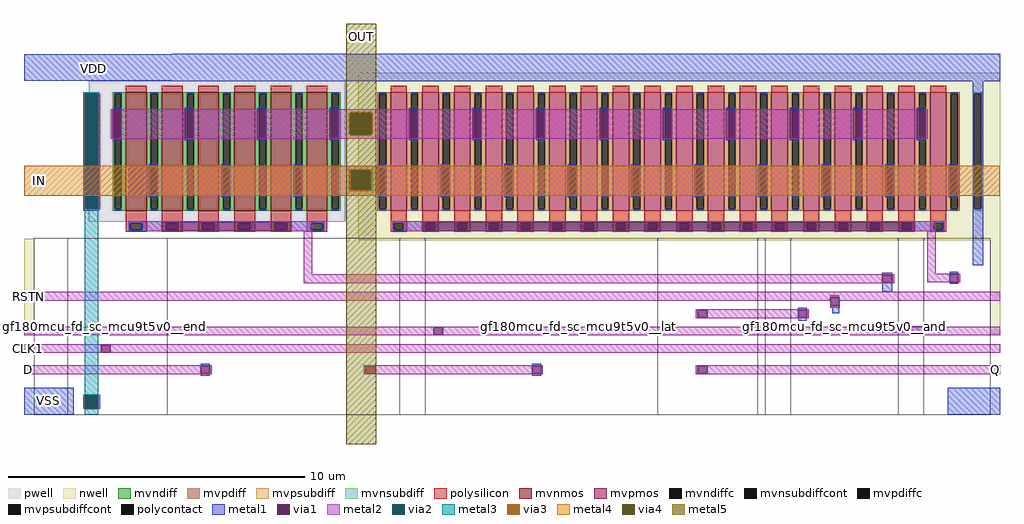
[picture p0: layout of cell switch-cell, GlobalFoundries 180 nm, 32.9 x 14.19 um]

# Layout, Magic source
magic
tech gf180mcuD
magscale 1 10
<< nwell >>
rect 5954 1243 6020 2294
rect -560 533 -490 1174
rect 1694 1166 6020 1243
rect 5954 533 6020 1166
<< metal1 >>
rect 438 2420 6020 2423
rect -560 2240 6020 2420
rect 438 2237 6020 2240
rect -160 2151 -68 2164
rect 5835 2158 5907 2237
rect -160 1377 -148 2151
rect -160 1364 -68 1377
rect 5835 998 5907 1378
rect 5226 933 5295 945
rect 5226 817 5295 878
rect 5680 938 5739 952
rect 5680 871 5739 883
rect 4877 781 4936 793
rect 4877 710 4936 722
rect 4659 697 4718 709
rect 4890 672 4936 710
rect 4659 622 4718 642
rect 5226 540 5634 586
rect 633 320 693 332
rect 2867 320 2926 332
rect 633 253 693 265
rect 2867 253 2926 265
rect -560 -10 -224 170
rect 5669 -10 6020 170
<< via1 >>
rect -148 1377 -58 2151
rect 5226 878 5295 933
rect 5680 883 5739 938
rect 4877 722 4936 781
rect 3981 642 4046 697
rect 4659 642 4718 697
rect 2202 525 2263 580
rect -38 407 23 462
rect 633 265 693 320
rect 1741 265 1806 320
rect 2867 265 2926 320
rect 3981 265 4046 320
rect -150 30 -58 122
<< metal2 >>
rect -160 2151 -45 2153
rect -160 1377 -150 2151
rect -58 1377 -45 2151
rect 1640 2020 1780 2030
rect 1640 1870 1780 1880
rect 1640 1640 1780 1650
rect 1640 1490 1780 1500
rect -160 1375 -45 1377
rect 1326 935 1385 1292
rect 5528 940 5587 1292
rect 5528 938 5751 940
rect 1326 933 5307 935
rect 1326 878 5226 933
rect 5295 878 5307 933
rect 5528 883 5680 938
rect 5739 883 5751 938
rect 5528 881 5751 883
rect 1326 876 5307 878
rect -560 781 6020 817
rect -560 758 4877 781
rect 4875 722 4877 758
rect 4936 758 6020 781
rect 4936 722 4938 758
rect 4875 710 4938 722
rect 3969 697 4730 699
rect 3969 642 3981 697
rect 4046 642 4659 697
rect 4718 642 4730 697
rect 3969 640 4730 642
rect -560 580 6020 582
rect -560 525 2202 580
rect 2263 525 6020 580
rect -560 523 6020 525
rect -560 462 6020 464
rect -560 407 -38 462
rect 23 407 6020 462
rect -560 405 6020 407
rect -560 320 705 322
rect -560 265 633 320
rect 693 265 705 320
rect -560 263 705 265
rect 1729 320 2938 322
rect 1729 265 1741 320
rect 1806 265 2867 320
rect 2926 265 2938 320
rect 1729 263 2938 265
rect 3969 320 6020 322
rect 3969 265 3981 320
rect 4046 265 6020 320
rect 3969 263 6020 265
rect -162 122 -46 124
rect -162 30 -150 122
rect -58 30 -46 122
rect -162 28 -46 30
<< via2 >>
rect -150 1377 -148 2151
rect -148 1377 -58 2151
rect 1640 1880 1780 2020
rect 1640 1500 1780 1640
rect -150 30 -58 122
<< metal3 >>
rect -150 2151 -58 2161
rect 1630 1880 1640 2020
rect 1780 1880 1790 2020
rect 1630 1500 1640 1640
rect 1780 1500 1790 1640
rect -150 122 -58 1377
rect -150 -10 -58 30
<< via3 >>
rect 1640 1880 1780 2020
rect 1640 1500 1780 1640
<< metal4 >>
rect 1640 2020 1780 2030
rect 1630 1880 1640 2020
rect 1780 1880 1790 2020
rect 1640 1870 1780 1880
rect -560 1640 6019 1668
rect -560 1500 1640 1640
rect 1780 1500 6019 1640
rect -560 1466 6019 1500
<< via4 >>
rect 1640 1880 1780 2020
<< metal5 >>
rect 1614 2020 1816 2626
rect 1614 1880 1640 2020
rect 1780 1880 1816 2020
rect 1614 -212 1816 1880
use gf180mcu_fd_sc_mcu9t5v0__and2_1  gf180mcu_fd_sc_mcu9t5v0__and2_1_0 pdks/gf180mcuD/libs.ref/gf180mcu_fd_sc_mcu9t5v0/mag
transform 1 0 4524 0 1 80
box -86 -90 982 1098
use gf180mcu_fd_sc_mcu9t5v0__endcap  gf180mcu_fd_sc_mcu9t5v0__endcap_0 pdks/gf180mcuD/libs.ref/gf180mcu_fd_sc_mcu9t5v0/mag
transform -1 0 -180 0 1 80
box -586 -90 310 1098
use gf180mcu_fd_sc_mcu9t5v0__endcap  gf180mcu_fd_sc_mcu9t5v0__endcap_1
transform 1 0 4300 0 1 80
box -586 -90 310 1098
use gf180mcu_fd_sc_mcu9t5v0__inv_1  gf180mcu_fd_sc_mcu9t5v0__inv_1_0 pdks/gf180mcuD/libs.ref/gf180mcu_fd_sc_mcu9t5v0/mag
transform 1 0 5420 0 1 80
box -86 -90 534 1098
use gf180mcu_fd_sc_mcu9t5v0__latq_1  gf180mcu_fd_sc_mcu9t5v0__latq_1_0 pdks/gf180mcuD/libs.ref/gf180mcu_fd_sc_mcu9t5v0/mag
transform 1 0 -180 0 1 80
box -86 -90 2326 1098
use gf180mcu_fd_sc_mcu9t5v0__latq_1  gf180mcu_fd_sc_mcu9t5v0__latq_1_1
transform 1 0 2060 0 1 80
box -86 -90 2326 1098
use trans-gate  trans-gate_0 /foss/designs/sscs-chipathon2025-LNA/designs/libs/core_switch-matrix/trans-gate
transform -1 0 4514 0 -1 4234
box -1440 1940 4639 3012
<< labels >>
flabel metal1 -137 2280 -45 2372 0 FreeSans 320 0 0 0 VDD
port 16 nsew
flabel metal1 -438 39 -346 131 0 FreeSans 320 0 0 0 VSS
port 17 nsew
flabel metal2 -560 758 -501 817 0 FreeSans 320 0 0 0 RSTN
port 18 nsew
flabel metal2 -560 405 -501 464 0 FreeSans 320 0 0 0 CLK1
port 19 nsew
flabel metal2 -560 523 -501 582 0 FreeSans 320 0 0 0 CLK2
port 20 nsew
flabel metal2 -560 263 -501 322 0 FreeSans 320 0 0 0 D
port 21 nsew
flabel metal2 5961 263 6020 322 0 FreeSans 320 0 0 0 Q
port 23 nsew
flabel metal4 -525 1495 -385 1635 0 FreeSans 320 0 0 0 IN
port 24 nsew
flabel metal5 1645 2467 1785 2607 0 FreeSans 320 0 0 0 OUT
port 26 nsew
<< end >>

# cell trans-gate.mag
magic
tech gf180mcuD
magscale 1 10
<< nwell >>
rect -1440 1940 -1319 3000
rect -931 2942 -821 3000
rect -717 2942 -607 3000
rect -503 2942 -393 3000
rect -289 2942 -179 3000
rect -75 2942 35 3000
rect 139 2942 249 3000
rect 353 2942 463 3000
rect 567 2942 677 3000
rect 781 2942 891 3000
rect 995 2942 1105 3000
rect 1209 2942 1319 3000
rect 1423 2942 1533 3000
rect 1637 2942 1747 3000
rect 1760 1940 2820 3000
<< pwell >>
rect 3272 2942 3412 2946
rect 3516 2942 3656 2946
rect 3760 2942 3900 2946
rect 4004 2942 4144 2946
rect 4248 2942 4388 2946
rect 4508 1994 4639 2946
<< mvpsubdiff >>
rect 4567 2857 4639 2870
rect 4567 2083 4580 2857
rect 4626 2083 4639 2857
rect 4567 2070 4639 2083
<< mvnsubdiff >>
rect -1393 2857 -1321 2870
rect -1393 2083 -1380 2857
rect -1334 2083 -1321 2857
rect -1393 2070 -1321 2083
<< mvpsubdiffcont >>
rect 4580 2083 4626 2857
<< mvnsubdiffcont >>
rect -1380 2083 -1334 2857
<< polysilicon >>
rect -1145 2999 -1035 3012
rect -1145 2953 -1120 2999
rect -1060 2953 -1035 2999
rect -1145 2914 -1035 2953
rect -931 2999 -821 3012
rect -931 2953 -906 2999
rect -846 2953 -821 2999
rect -931 2914 -821 2953
rect -717 2999 -607 3012
rect -717 2953 -692 2999
rect -632 2953 -607 2999
rect -717 2914 -607 2953
rect -503 2999 -393 3012
rect -503 2953 -478 2999
rect -418 2953 -393 2999
rect -503 2914 -393 2953
rect -289 2999 -179 3012
rect -289 2953 -264 2999
rect -204 2953 -179 2999
rect -289 2914 -179 2953
rect -75 2999 35 3012
rect -75 2953 -50 2999
rect 10 2953 35 2999
rect -75 2914 35 2953
rect 139 2999 249 3012
rect 139 2953 164 2999
rect 224 2953 249 2999
rect 139 2914 249 2953
rect 353 2999 463 3012
rect 353 2953 378 2999
rect 438 2953 463 2999
rect 353 2914 463 2953
rect 567 2999 677 3012
rect 567 2953 592 2999
rect 652 2953 677 2999
rect 567 2914 677 2953
rect 781 2999 891 3012
rect 781 2953 806 2999
rect 866 2953 891 2999
rect 781 2914 891 2953
rect 995 2999 1105 3012
rect 995 2953 1020 2999
rect 1080 2953 1105 2999
rect 995 2914 1105 2953
rect 1209 2999 1319 3012
rect 1209 2953 1234 2999
rect 1294 2953 1319 2999
rect 1209 2914 1319 2953
rect 1423 2999 1533 3012
rect 1423 2953 1448 2999
rect 1508 2953 1533 2999
rect 1423 2914 1533 2953
rect 1637 2999 1747 3012
rect 1637 2953 1662 2999
rect 1722 2953 1747 2999
rect 1637 2914 1747 2953
rect 1851 2999 1961 3012
rect 1851 2953 1876 2999
rect 1936 2953 1961 2999
rect 1851 2914 1961 2953
rect 2065 2999 2175 3012
rect 2065 2953 2090 2999
rect 2150 2953 2175 2999
rect 2065 2914 2175 2953
rect 2279 2999 2389 3012
rect 2279 2953 2304 2999
rect 2364 2953 2389 2999
rect 2279 2914 2389 2953
rect 2493 2999 2603 3012
rect 2493 2953 2518 2999
rect 2578 2953 2603 2999
rect 2493 2914 2603 2953
rect 3028 2999 3168 3012
rect 3028 2953 3060 2999
rect 3140 2953 3168 2999
rect 3028 2914 3168 2953
rect 3272 2999 3412 3012
rect 3272 2953 3304 2999
rect 3384 2953 3412 2999
rect 3272 2870 3412 2953
rect 3516 2999 3656 3012
rect 3516 2953 3548 2999
rect 3628 2953 3656 2999
rect 3516 2870 3656 2953
rect 3760 2999 3900 3012
rect 3760 2953 3792 2999
rect 3872 2953 3900 2999
rect 3760 2870 3900 2953
rect 4004 2999 4144 3012
rect 4004 2953 4036 2999
rect 4116 2953 4144 2999
rect 4004 2870 4144 2953
rect 4248 2999 4388 3012
rect 4248 2953 4276 2999
rect 4356 2953 4388 2999
rect 4248 2914 4388 2953
<< polycontact >>
rect -1120 2953 -1060 2999
rect -906 2953 -846 2999
rect -692 2953 -632 2999
rect -478 2953 -418 2999
rect -264 2953 -204 2999
rect -50 2953 10 2999
rect 164 2953 224 2999
rect 378 2953 438 2999
rect 592 2953 652 2999
rect 806 2953 866 2999
rect 1020 2953 1080 2999
rect 1234 2953 1294 2999
rect 1448 2953 1508 2999
rect 1662 2953 1722 2999
rect 1876 2953 1936 2999
rect 2090 2953 2150 2999
rect 2304 2953 2364 2999
rect 2518 2953 2578 2999
rect 3060 2953 3140 2999
rect 3304 2953 3384 2999
rect 3548 2953 3628 2999
rect 3792 2953 3872 2999
rect 4036 2953 4116 2999
rect 4276 2953 4356 2999
<< metal1 >>
rect -1131 3008 2589 3010
rect -1131 2999 -931 3008
rect 2389 2999 2589 3008
rect -1131 2953 -1120 2999
rect -1060 2953 -931 2999
rect 2389 2953 2518 2999
rect 2578 2953 2589 2999
rect -1131 2944 -931 2953
rect 2389 2944 2589 2953
rect -1131 2942 2589 2944
rect 3049 3008 4367 3010
rect 3049 2999 3272 3008
rect 4144 2999 4367 3008
rect 3049 2953 3060 2999
rect 3140 2953 3272 2999
rect 4144 2953 4276 2999
rect 4356 2953 4367 2999
rect 3049 2944 3272 2953
rect 4144 2944 4367 2953
rect 3049 2942 4367 2944
rect -1393 2857 -1321 2870
rect -1393 2083 -1380 2857
rect -1334 2083 -1321 2857
rect 4567 2857 4639 2870
rect -1220 2766 -1160 2778
rect -1006 2766 -960 2778
rect -792 2766 -732 2778
rect -578 2766 -532 2778
rect -364 2766 -304 2778
rect -150 2766 -104 2778
rect 64 2766 124 2778
rect 278 2766 324 2778
rect 492 2766 552 2778
rect 706 2766 752 2778
rect 920 2766 980 2778
rect 1134 2766 1180 2778
rect 1348 2766 1408 2778
rect 1562 2766 1608 2778
rect 1776 2766 1836 2778
rect 1990 2766 2036 2778
rect 2204 2766 2264 2778
rect -1220 2556 -1160 2568
rect -792 2556 -732 2568
rect -364 2556 -304 2568
rect 64 2556 124 2568
rect 492 2556 552 2568
rect 920 2556 980 2568
rect 1348 2556 1408 2568
rect 1776 2554 1836 2568
rect 2204 2556 2264 2568
rect 2632 2766 2692 2778
rect 2632 2556 2692 2568
rect 3197 2766 3257 2778
rect 3197 2556 3257 2568
rect 3685 2766 3745 2778
rect 3685 2556 3745 2568
rect 4173 2766 4233 2778
rect 4173 2556 4233 2568
rect -1006 2383 -946 2395
rect -1006 2175 -946 2187
rect -578 2383 -518 2395
rect -578 2175 -518 2187
rect -150 2383 -90 2395
rect -150 2175 -90 2187
rect 278 2383 338 2395
rect 278 2175 338 2187
rect 706 2383 766 2395
rect 706 2175 766 2187
rect 1134 2383 1194 2395
rect 1134 2175 1194 2187
rect 1562 2383 1622 2395
rect 1562 2175 1622 2187
rect 1990 2383 2050 2395
rect 1990 2175 2050 2187
rect 2418 2383 2478 2395
rect 2418 2175 2478 2187
rect 2953 2383 3013 2395
rect 2953 2175 3013 2187
rect 3441 2383 3501 2395
rect 3441 2175 3501 2187
rect 3929 2383 3989 2395
rect 3929 2175 3989 2187
rect 4417 2383 4477 2395
rect 4417 2175 4477 2187
rect -1393 2070 -1321 2083
rect 4567 2083 4580 2857
rect 4626 2083 4639 2857
rect 4567 2070 4639 2083
<< via1 >>
rect -931 2999 2389 3008
rect -931 2953 -906 2999
rect -906 2953 -846 2999
rect -846 2953 -692 2999
rect -692 2953 -632 2999
rect -632 2953 -478 2999
rect -478 2953 -418 2999
rect -418 2953 -264 2999
rect -264 2953 -204 2999
rect -204 2953 -50 2999
rect -50 2953 10 2999
rect 10 2953 164 2999
rect 164 2953 224 2999
rect 224 2953 378 2999
rect 378 2953 438 2999
rect 438 2953 592 2999
rect 592 2953 652 2999
rect 652 2953 806 2999
rect 806 2953 866 2999
rect 866 2953 1020 2999
rect 1020 2953 1080 2999
rect 1080 2953 1234 2999
rect 1234 2953 1294 2999
rect 1294 2953 1448 2999
rect 1448 2953 1508 2999
rect 1508 2953 1662 2999
rect 1662 2953 1722 2999
rect 1722 2953 1876 2999
rect 1876 2953 1936 2999
rect 1936 2953 2090 2999
rect 2090 2953 2150 2999
rect 2150 2953 2304 2999
rect 2304 2953 2364 2999
rect 2364 2953 2389 2999
rect -931 2944 2389 2953
rect 3272 2999 4144 3008
rect 3272 2953 3304 2999
rect 3304 2953 3384 2999
rect 3384 2953 3548 2999
rect 3548 2953 3628 2999
rect 3628 2953 3792 2999
rect 3792 2953 3872 2999
rect 3872 2953 4036 2999
rect 4036 2953 4116 2999
rect 4116 2953 4144 2999
rect 3272 2944 4144 2953
rect -1220 2568 -1160 2766
rect -792 2568 -732 2766
rect -364 2568 -304 2766
rect 64 2568 124 2766
rect 492 2568 552 2766
rect 920 2568 980 2766
rect 1348 2568 1408 2766
rect 1776 2568 1836 2766
rect 2204 2568 2264 2766
rect 2632 2568 2692 2766
rect 3197 2568 3257 2766
rect 3685 2568 3745 2766
rect 4173 2568 4233 2766
rect -1006 2187 -946 2383
rect -578 2187 -518 2383
rect -150 2187 -90 2383
rect 278 2187 338 2383
rect 706 2187 766 2383
rect 1134 2187 1194 2383
rect 1562 2187 1622 2383
rect 1990 2187 2050 2383
rect 2418 2187 2478 2383
rect 2953 2187 3013 2383
rect 3441 2187 3501 2383
rect 3929 2187 3989 2383
rect 4417 2187 4477 2383
<< metal2 >>
rect -1035 3008 2493 3010
rect -1035 2944 -931 3008
rect 2389 2944 2493 3008
rect -1035 2942 2493 2944
rect 3168 3008 4248 3010
rect 3168 2944 3272 3008
rect 4144 2944 4248 3008
rect 3168 2942 4248 2944
rect -1232 2766 4245 2768
rect -1232 2568 -1220 2766
rect -1160 2568 -792 2766
rect -732 2568 -364 2766
rect -304 2568 64 2766
rect 124 2568 492 2766
rect 552 2568 920 2766
rect 980 2568 1348 2766
rect 1408 2568 1776 2766
rect 1836 2568 2204 2766
rect 2264 2568 2632 2766
rect 2692 2568 3197 2766
rect 3257 2568 3685 2766
rect 3745 2568 4173 2766
rect 4233 2568 4245 2766
rect -1232 2566 4245 2568
rect 2204 2556 2264 2566
rect -1018 2383 4489 2385
rect -1018 2187 -1006 2383
rect -946 2187 -578 2383
rect -518 2187 -150 2383
rect -90 2187 278 2383
rect 338 2187 706 2383
rect 766 2187 1134 2383
rect 1194 2187 1562 2383
rect 1622 2187 1990 2383
rect 2050 2187 2418 2383
rect 2478 2187 2953 2383
rect 3013 2187 3441 2383
rect 3501 2187 3929 2383
rect 3989 2187 4417 2383
rect 4477 2187 4489 2383
rect -1018 2185 4489 2187
use nfet_06v0_42FNXL  nfet_06v0_42FNXL_0
transform 1 0 3708 0 1 2470
box -800 -476 800 476
use pfet_06v0_LJSS4L  pfet_06v0_LJSS4L_0
transform 1 0 729 0 1 2470
box -2048 -530 2048 530
<< labels >>
flabel metal2 1538 2687 1584 2733 0 FreeSans 320 0 0 0 IN
port 8 nsew
flabel metal2 1514 2212 1560 2258 0 FreeSans 320 0 0 0 OUT
port 10 nsew
flabel nwell -1381 2092 -1335 2138 0 FreeSans 320 0 0 0 VDD
port 11 nsew
flabel pwell 4576 2089 4622 2135 0 FreeSans 320 0 0 0 VSS
port 13 nsew
flabel via1 -44 2953 2 2999 0 FreeSans 320 0 0 0 SWP
port 2 nsew
flabel metal2 3466 2953 3512 2999 0 FreeSans 320 0 0 0 SWN
port 15 nsew
<< end >>

# cell nfet_06v0_42FNXL: kit device nfet_06v0, w 4 l 0.7 m 1 nf 6 diffcov 100 polycov 100 guard 0 glc 1 grc 1 gtc 0 gbc 0 tbcov 100 rlcov 100 topc 0 botc 0 poverlap 0 doverlap 1 lmin 0.6 wmin 0.3 class mosfet full_metal 1 compatible {nfet_03v3 nfet_06v0 nfet_06v0_nvt}

# cell pfet_06v0_LJSS4L: kit device pfet_06v0, w 4 l 0.55 m 1 nf 18 diffcov 100 polycov 100 guard 0 glc 1 grc 1 gtc 0 gbc 0 tbcov 100 rlcov 100 topc 0 botc 0 poverlap 0 doverlap 1 lmin 0.5 wmin 0.3 class mosfet full_metal 1 compatible {pfet_03v3 pfet_06v0}
